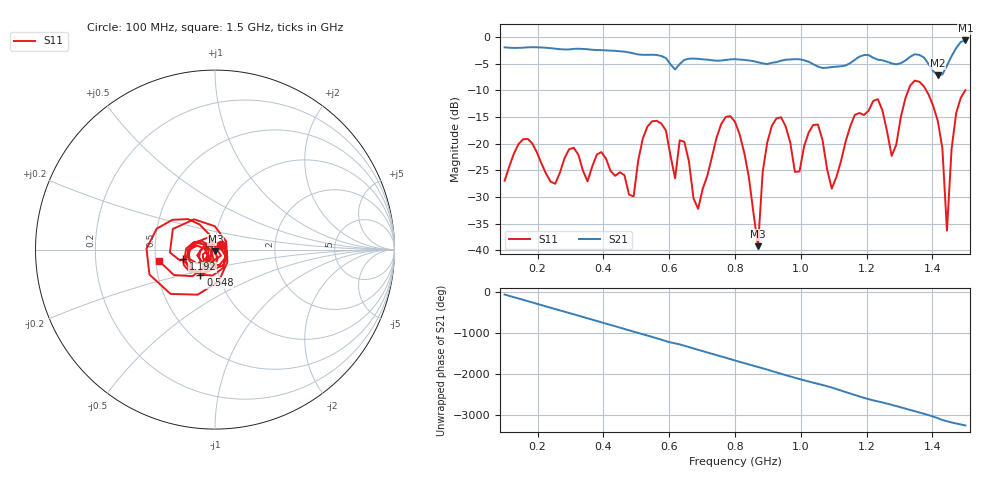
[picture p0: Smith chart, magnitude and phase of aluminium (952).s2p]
! NanoVNA-App
! Date: 2025-09-25 15:02:41
! Start: 100MHz Stop: 1,5GHz Points: 101
! S-Parameter data: F S11 S21 S12 S22
# Hz S RI R 50
!  Frequency  S11_Real  S11_Imag  S21_Real  S21_Imag  S12_Real  S12_Imag  S22_Real  S22_Imag
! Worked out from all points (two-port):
!   101 points, 100 MHz to 1.5 GHz, reference 50 ohm
!   highest |S21| = -0.63 dB at 1.5 GHz (marker M1); lowest = -7.2 dB at 1.416 GHz (marker M2)
!   |S21| within 3 dB of the highest: start of sweep to 579.4 MHz; 1.458 GHz to end of sweep (the widest 2 of 4)
!   lowest |S11| = -39.2 dB at 870 MHz (marker M3), VSWR 1.02, Z = 50.3 - j1.06 ohm
!   |S11| at or under -10 dB: start of sweep to 1.327 GHz; 1.381 GHz to 1.5 GHz (118.6 MHz wide, 8.24 % of centre)
!   S12 and S22 are empty: the file has one direction only
!   S11 on the Smith chart (normalised r, x): 100 MHz: 1.07, +0.06; 548 MHz: 0.82, -0.24; 1.192 GHz: 0.69, -0.08; 1.5 GHz: 0.52, -0.07
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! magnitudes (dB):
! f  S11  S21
! 100 MHz  -27.0  -1.9
! 156 MHz  -19.2  -2.0
! 338 MHz  -25.0  -2.2
! 492 MHz  -29.9  -3.1
! 548 MHz  -15.8  -3.3
! 576 MHz  -16.2  -3.5
! 646 MHz  -19.6  -4.3
! 688 MHz  -32.2  -4.1
! 800 MHz  -15.9  -4.1
! 870 MHz  -39.2  -4.7
! 912 MHz  -16.6  -4.8
! 982 MHz  -25.3  -4.1
! 1.038 GHz  -16.5  -5.1
! 1.094 GHz  -28.4  -5.6
! 1.192 GHz  -14.6  -3.4
! 1.234 GHz  -11.7  -4.2
! 1.276 GHz  -22.3  -4.9
! 1.346 GHz  -8.2  -3.2
! 1.416 GHz  -15.7  -7.2
! 1.444 GHz  -36.3  -5.3
! 1.472 GHz  -14.3  -2.1
! 1.5 GHz  -10.0  -0.6
